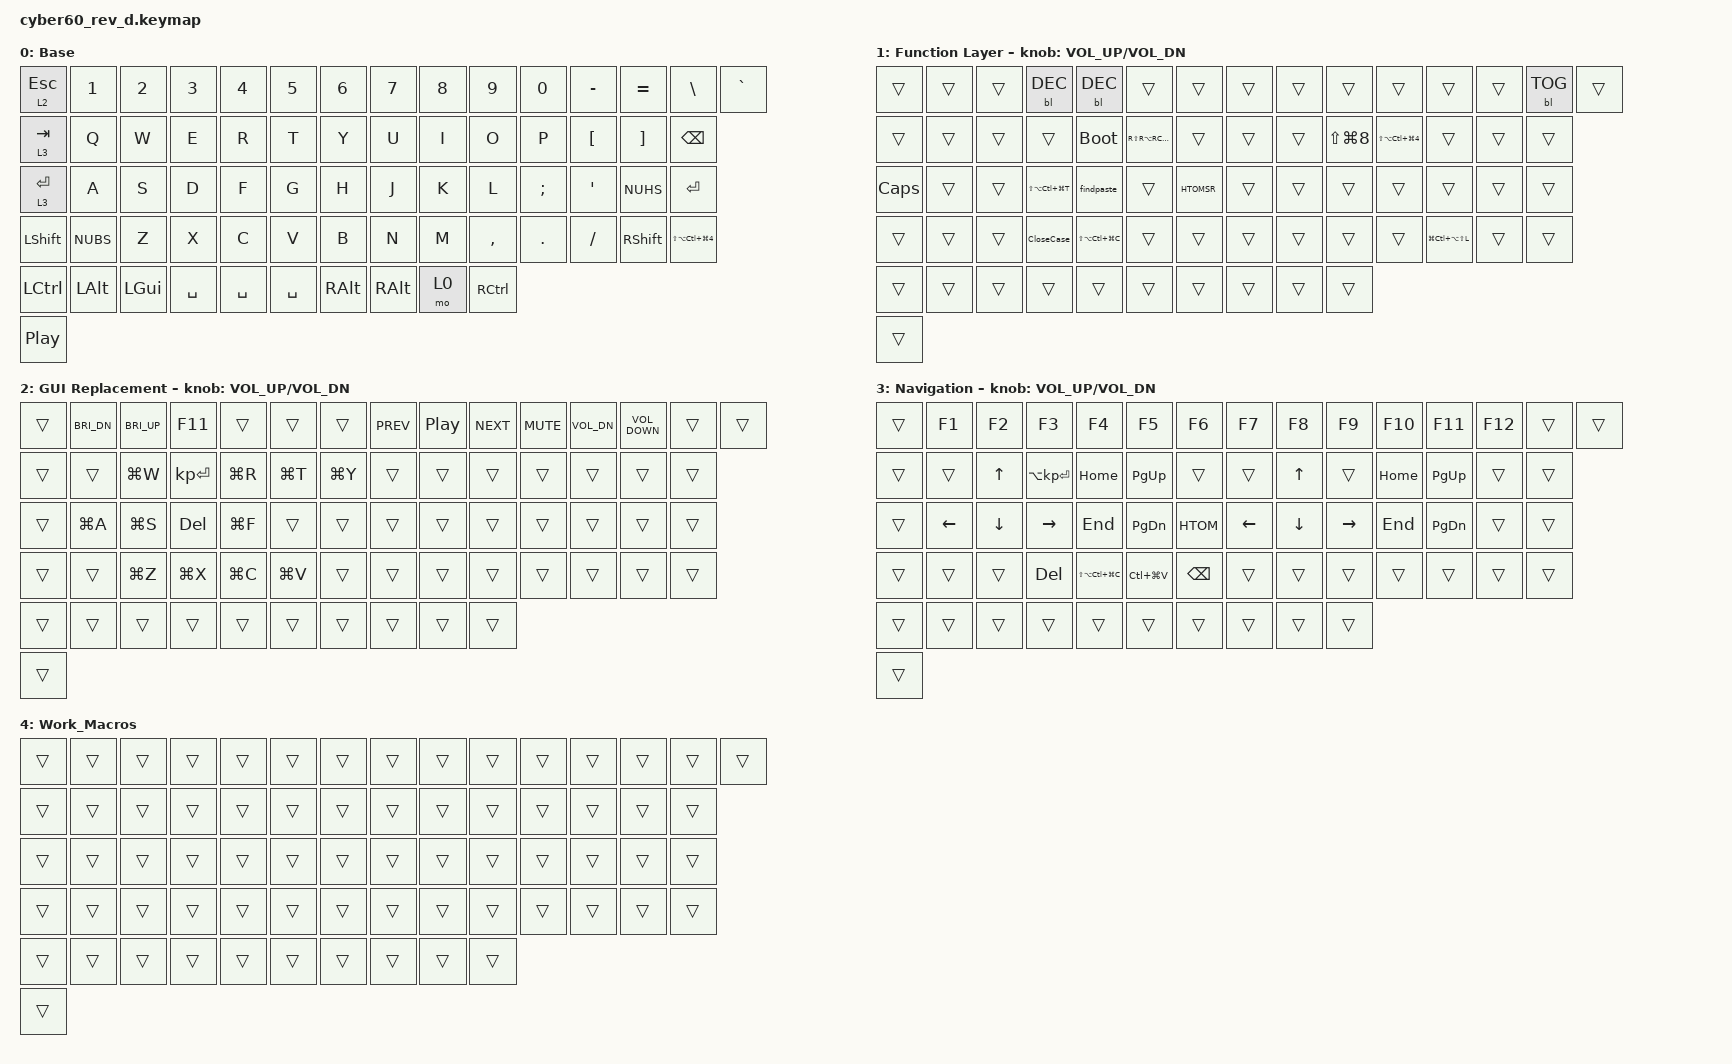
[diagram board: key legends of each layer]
#include <behaviors.dtsi>
#include <dt-bindings/zmk/backlight.h>
#include <dt-bindings/zmk/keys.h>

#define FN1 1

/ {
    macros {
        HTOM: HTOM {
            compatible = "zmk,behavior-macro";
            #binding-cells = <0>;
            bindings = <&none &kp LS(I) &kp SPACE &kp A &kp M &kp SPACE &kp T &kp H &kp E &kp SPACE &kp LS(H) &kp LS(T) &kp LS(O) &kp LS(M) &kp SPACE &kp F &kp O &kp R &kp SPACE &kp LS(B) &kp L &kp A &kp C &kp K &kp LS(R) &kp O &kp C &kp K &kp DOT>;
            label = "HTOM";
        };

        BrowSrch: BrowSrch {
            compatible = "zmk,behavior-macro";
            #binding-cells = <0>;
            bindings = <&kp LG(T) &kp S &kp R &kp SPACE &kp LG(V) &kp ENTER>;
            label = "BROWSRCH";
        };

        findpaste: findpaste {
            compatible = "zmk,behavior-macro";
            #binding-cells = <0>;
            bindings = <&kp LG(F) &kp LG(V) &kp ENTER>;
            label = "FINDPASTE";
        };

        CloseCase: CloseCase {
            compatible = "zmk,behavior-macro";
            #binding-cells = <0>;
            bindings = <&kp F2 &kp HOME &kp X &kp MINUS &kp TAB &kp TAB &kp TAB &kp TAB &kp TAB &kp LS(C) &kp L &kp O &kp S &kp E &kp D &kp ENTER>;
            label = "CLOSECASE";
        };

        HTOMSR: HTOMSR {
            compatible = "zmk,behavior-macro";
            #binding-cells = <0>;
            bindings = <&kp LS(I) &kp SPACE &kp A &kp M &kp SPACE &kp T &kp H &kp E &kp SPACE &kp LS(H) &kp LS(T) &kp LS(O) &kp LS(M) &kp SPACE &kp F &kp O &kp R &kp SPACE &kp LS(B) &kp L &kp A &kp C &kp K &kp LS(R) &kp O &kp C &kp K &kp DOT &kp SPACE &kp SPACE &kp LS(W) &kp H &kp E &kp N &kp SPACE &kp Y &kp O &kp U &kp SPACE &kp G &kp E &kp T &kp SPACE &kp A &kp SPACE &kp M &kp I &kp N &kp U &kp T &kp E &kp COMMA &kp SPACE &kp W &kp I &kp L &kp L &kp SPACE &kp Y &kp O &kp U &kp SPACE &kp P &kp L &kp E &kp A &kp S &kp E &kp SPACE &kp P &kp I &kp N &kp G &kp SPACE &kp M &kp E &kp SPACE &kp A &kp B &kp O &kp U &kp T &kp SPACE &kp LS(S) &kp LS(R) &kp SPACE>;
            label = "HTOMSR";
        };

        email: email {
            compatible = "zmk,behavior-macro";
            #binding-cells = <0>;
            bindings = <&kp S &kp T &kp P &kp E &kp T &kp E &kp R &kp S &kp AT &kp C &kp I &kp S &kp C &kp O &kp DOT &kp C &kp O &kp M>;
            label = "EMAIL";
        };

        BTMet: BTMet {
            compatible = "zmk,behavior-macro";
            #binding-cells = <0>;
            bindings = <&kp LS(B) &kp LS(L) &kp LS(K) &kp SPACE &kp A &kp N &kp D &kp SPACE &kp LS(T) &kp LS(A) &kp LS(C) &kp SPACE &kp M &kp E &kp T &kp DOT &kp SPACE>;
            label = "BTMET";
        };

        BLK: BLK {
            compatible = "zmk,behavior-macro";
            #binding-cells = <0>;
            bindings = <&kp LS(B) &kp L &kp A &kp C &kp K &kp LS(R) &kp O &kp C &kp K>;
            label = "BLK";
        };

        CSCO: CSCO {
            compatible = "zmk,behavior-macro";
            #binding-cells = <0>;
            bindings = <&kp LS(C) &kp I &kp S &kp C &kp O>;
            label = "CSCO";
        };

        ReplyFix: ReplyFix {
            compatible = "zmk,behavior-macro";
            #binding-cells = <0>;
            bindings = <&kp LS(DOWN) &kp LS(DOWN) &kp LS(DOWN) &kp LS(DOWN) &kp LS(DOWN) &kp LS(DOWN) &kp LG(X) &kp LA(PAGE_UP) &kp ENTER &kp LG(V) &kp LA(PAGE_UP) &kp ENTER &kp ENTER &kp LS(B) &kp E &kp S &kp T &kp COMMA &kp RET &kp RET &kp LS(S) &kp T &kp E &kp V &kp E &kp RET &kp LA(PAGE_UP)>;
            label = "REPLYFIX";
        };

        FixTable: FixTable {
            compatible = "zmk,behavior-macro";
            #binding-cells = <0>;
            bindings =
                <&kp LG(T)>,
                <&macro_wait_time 20>,
                <&kp KP_ENTER>,
                <&macro_wait_time 20>,
                <&kp LS(LA(LC(R))) &kp NUMBER_4 &kp N0 &kp ENTER &kp LS(LC(LG(H)))>;

            label = "FIXTABLE";
        };

        EditCase: EditCase {
            compatible = "zmk,behavior-macro";
            #binding-cells = <0>;
            bindings = <&kp F2 &kp LG(HOME) &kp LA(ENTER) &kp LA(ENTER) &kp LG(HOME)>;
            label = "EDITCASE";
        };

        m14: m14 {
            compatible = "zmk,behavior-macro";
            #binding-cells = <0>;
            bindings = <&kp LG(V) &kp LA(PAGE_UP)>;
            label = "M14";
        };
    };

    keymap {
        compatible = "zmk,keymap";

        Base_Layer {
            // Base layer
            // ------------------------------------------------------------------------------------------
            // | ESC |  1  |  2  |  3  |  4  |  5  |  6  |  7  |  8  |  9  |  0  |  -  |  =  | "\" |BKSP|
            // |  TAB |  Q  |  W  |  E  |  R  |  T  |  Y  |  U  |  I  |  O  |  P  |  [  |  ]  |   "\"   |
            // | CAPS  |  A  |  S  |  D  |  F  |  G  |  H  |  J  |  K  |  L  |  ;  |  '  |NUHS| ENTER   |
            // | SHIFT |NUBS| Z |  X  |  C  |  V  |  B  |  N  |  M  |  ,  |  .  |  /  |    Shift   | FN |
            // |  LCTL  |  LWIN  |  LALT  | SPACE  | SPACE |    SPACE   |  RALT | FN  |   RWIN  | RCTRL |
            // | Rotary | (<-- Rotary switch) ----------------------------------------------------------- 

            display-name = "Base";
            bindings = <
&lt 2 ESC    &kp N1        &kp N2        &kp N3     &kp N4     &kp N5     &kp N6    &kp N7         &kp N8  &kp N9     &kp N0    &kp MINUS  &kp EQUAL  &kp BACKSLASH                 &kp GRAVE
&lt 3 TAB    &kp Q         &kp W         &kp E      &kp R      &kp T      &kp Y     &kp U          &kp I   &kp O      &kp P     &kp LBKT   &kp RBKT   &kp BACKSPACE
&lt 3 ENTER  &kp A         &kp S         &kp D      &kp F      &kp G      &kp H     &kp J          &kp K   &kp L      &kp SEMI  &kp SQT    &kp NUHS   &kp RET
&kp LSHFT    &kp NUBS      &kp Z         &kp X      &kp C      &kp V      &kp B     &kp N          &kp M   &kp COMMA  &kp DOT   &kp FSLH   &kp RSHFT  &kp LS(LA(LC(LG(NUMBER_4))))
&kp LCTRL    &kp LEFT_ALT  &kp LEFT_GUI  &kp SPACE  &kp SPACE  &kp SPACE  &kp RALT  &kp RIGHT_ALT  &mo 0   &kp RCTRL
&kp C_PP
            >;
        };

        Fn_layer {
            display-name = "Function Layer";
            bindings = <
&trans    &trans  &trans  &bl BL_DEC             &bl BL_DEC             &trans                 &trans   &trans  &trans  &trans          &trans                  &trans                 &trans  &bl BL_TOG  &trans
&trans    &trans  &trans  &trans                 &bootloader            &kp RS(RA(RC(RG(T))))  &trans   &trans  &trans  &kp LS(LG(N8))  &kp LS(LA(LC(LG(N4))))  &trans                 &trans  &trans
&kp CAPS  &trans  &trans  &kp LS(LA(LC(LG(T))))  &findpaste             &trans                 &HTOMSR  &trans  &trans  &trans          &trans                  &trans                 &trans  &trans
&trans    &trans  &trans  &CloseCase             &kp LS(LA(LC(LG(C))))  &trans                 &trans   &trans  &trans  &trans          &trans                  &kp LG(LC(LA(LS(L))))  &trans  &trans
&trans    &trans  &trans  &trans                 &trans                 &trans                 &trans   &trans  &trans  &trans
&trans
            >;

            sensor-bindings = <&inc_dec_kp C_VOL_UP C_VOL_DN>;
        };

        GUI_Replacement {
            display-name = "GUI Replacement";
            bindings = <
&trans  &kp C_BRI_DN  &kp C_BRI_UP  &kp F11       &trans     &trans     &trans     &kp C_PREV  &kp C_PLAY_PAUSE  &kp C_NEXT  &kp C_MUTE  &kp C_VOL_DN  &kp C_VOLUME_DOWN  &trans  &trans
&trans  &trans        &kp LG(W)     &kp KP_ENTER  &kp LG(R)  &kp LG(T)  &kp LG(Y)  &trans      &trans            &trans      &trans      &trans        &trans             &trans
&trans  &kp LG(A)     &kp LG(S)     &kp DEL       &kp LG(F)  &trans     &trans     &trans      &trans            &trans      &trans      &trans        &trans             &trans
&trans  &trans        &kp LG(Z)     &kp LG(X)     &kp LG(C)  &kp LG(V)  &trans     &trans      &trans            &trans      &trans      &trans        &trans             &trans
&trans  &trans        &trans        &trans        &trans     &trans     &trans     &trans      &trans            &trans
&trans
            >;

            sensor-bindings = <&inc_dec_kp C_VOL_UP C_VOL_DN>;
        };

        Nav_Layer {
            display-name = "Navigation";
            bindings = <
&trans  &kp F1          &kp F2          &kp F3            &kp F4                 &kp F5         &kp F6         &kp F7    &kp F8        &kp F9     &kp F10   &kp F11    &kp F12  &trans  &trans
&trans  &trans          &kp UP_ARROW    &kp LA(KP_ENTER)  &kp HOME               &kp PG_UP      &trans         &trans    &kp UP_ARROW  &trans     &kp HOME  &kp PG_UP  &trans   &trans
&trans  &kp LEFT_ARROW  &kp DOWN_ARROW  &kp RIGHT_ARROW   &kp END                &kp PAGE_DOWN  &HTOM          &kp LEFT  &kp DOWN      &kp RIGHT  &kp END   &kp PG_DN  &trans   &trans
&trans  &trans          &trans          &kp DELETE        &kp LS(LA(LC(LG(C))))  &kp LC(LG(V))  &kp BACKSPACE  &trans    &trans        &trans     &trans    &trans     &trans   &trans
&trans  &trans          &trans          &trans            &trans                 &trans         &trans         &trans    &trans        &trans
&trans
            >;

            sensor-bindings = <&inc_dec_kp C_VOL_UP C_VOL_DN>;
        };

        Work_Macros {
            bindings = <
&trans  &trans  &trans  &trans  &trans  &trans  &trans  &trans  &trans  &trans  &trans  &trans  &trans  &trans  &trans
&trans  &trans  &trans  &trans  &trans  &trans  &trans  &trans  &trans  &trans  &trans  &trans  &trans  &trans
&trans  &trans  &trans  &trans  &trans  &trans  &trans  &trans  &trans  &trans  &trans  &trans  &trans  &trans
&trans  &trans  &trans  &trans  &trans  &trans  &trans  &trans  &trans  &trans  &trans  &trans  &trans  &trans
&trans  &trans  &trans  &trans  &trans  &trans  &trans  &trans  &trans  &trans
&trans
            >;
        };
    };
};
